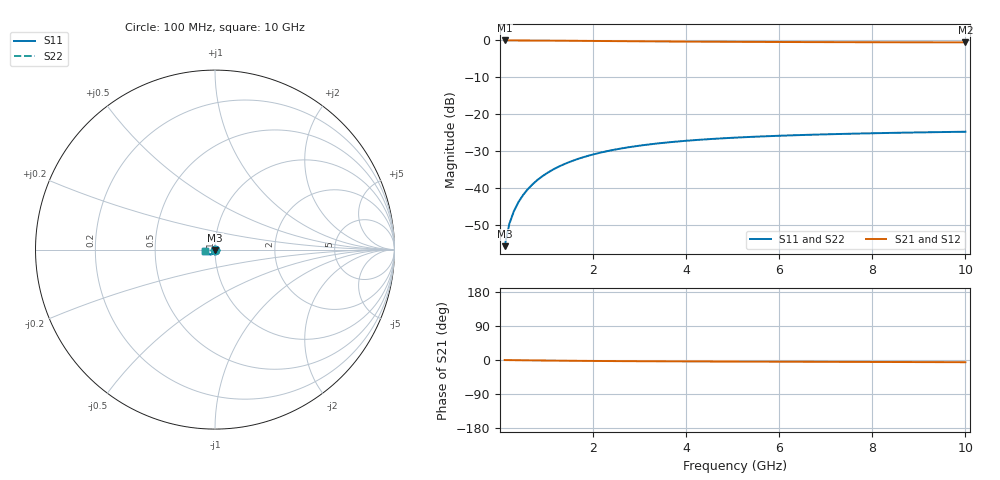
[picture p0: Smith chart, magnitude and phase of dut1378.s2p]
! Touchstone file exported from HFSS 2024.1.0
!  File:  C:/UserFiles/LocalFiles/RDL_TSV_Batchsim/temp_TSV1_1378_1780379884.aedt
!  Generated:  02:03:28 PM Jun  2, 2026
!  Design:  TSV1
!  Project:  temp_TSV1_1378_1780379884
!  Setup:  Setup1
!  Solution:  Sweep
! Variables:
!  dtsv = 11.62um
!  hbump = 3um
!  htsv = 92.06um
!  lrdl = 252.1521522um
!  p = 40
!  p1 = 50.54um
!  t = 500um
!  trdl = 3um
!  wrdl = 24.89489489um
# GHz S MA R 50.000000
! Terminal data exported
! Port[1] = TSV22_T1
! Port[2] = TSV22_T2
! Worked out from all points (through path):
!   100 points, 100 MHz to 10 GHz, reference 50 ohm
!   highest |S21| = 0.00 dB at 100 MHz (marker M1); lowest = -0.5 dB at 10 GHz (marker M2)
!   lowest |S11| = -55.8 dB at 100 MHz (marker M3), VSWR 1.00, Z = 50 - j0.162 ohm
!   |S11| at or under -10 dB: start of sweep to end of sweep
!   |S22| runs from -55.8 to -24.8 dB; largest |S21 - S12| = 4.6e-15
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0.1  0.001626 -87.6  0.9998 -0.1  0.9998 -0.1  0.001626 -87.6
! Gamma 0 0 0 0
! Port Impedance 50 0 50 0
0.2  0.003246 -91.3  0.9997 -0.3  0.9997 -0.3  0.003246 -91.3
0.3  0.004864 -93.6  0.9994 -0.4  0.9994 -0.4  0.004864 -93.6
0.4  0.006476 -95.7  0.999 -0.6  0.999 -0.6  0.006476 -95.7
0.5  0.008075 -97.6  0.9986 -0.7  0.9986 -0.7  0.008075 -97.6
0.6  0.009658 -99.5  0.998 -0.9  0.998 -0.9  0.009658 -99.5
0.7  0.01122 -101.3  0.9974 -1.0  0.9974 -1.0  0.01122 -101.3
0.8  0.01275 -103.1  0.9968 -1.1  0.9968 -1.1  0.01275 -103.1
0.9  0.01426 -104.8  0.996 -1.3  0.996 -1.3  0.01426 -104.8
1.1  0.01718 -108.2  0.9943 -1.5  0.9943 -1.5  0.01718 -108.2
1.4  0.02129 -113.0  0.9914 -1.9  0.9914 -1.9  0.02129 -113.0
1.6  0.02384 -116.1  0.9893 -2.1  0.9893 -2.1  0.02384 -116.1
1.8  0.02623 -119.0  0.9871 -2.3  0.9871 -2.3  0.02623 -119.0
2.1  0.02952 -123.1  0.9838 -2.6  0.9838 -2.6  0.02952 -123.1
2.5  0.03339 -128.1  0.9794 -2.9  0.9794 -2.9  0.03339 -128.1
2.9  0.03672 -132.7  0.9752 -3.1  0.9752 -3.1  0.03672 -132.7
3.4  0.04022 -137.8  0.9703 -3.4  0.9703 -3.4  0.04022 -137.8
4.2  0.04462 -144.8  0.9637 -3.8  0.9637 -3.8  0.04462 -144.8
5.1  0.04828 -151.3  0.9577 -4.2  0.9577 -4.2  0.04828 -151.3
6.7  0.05273 -160.4  0.9501 -4.7  0.9501 -4.7  0.05273 -160.4
8.4  0.05581 -168.0  0.9448 -5.3  0.9448 -5.3  0.05581 -168.0
10  0.05787 -173.9  0.9413 -5.8  0.9413 -5.8  0.05787 -173.9
